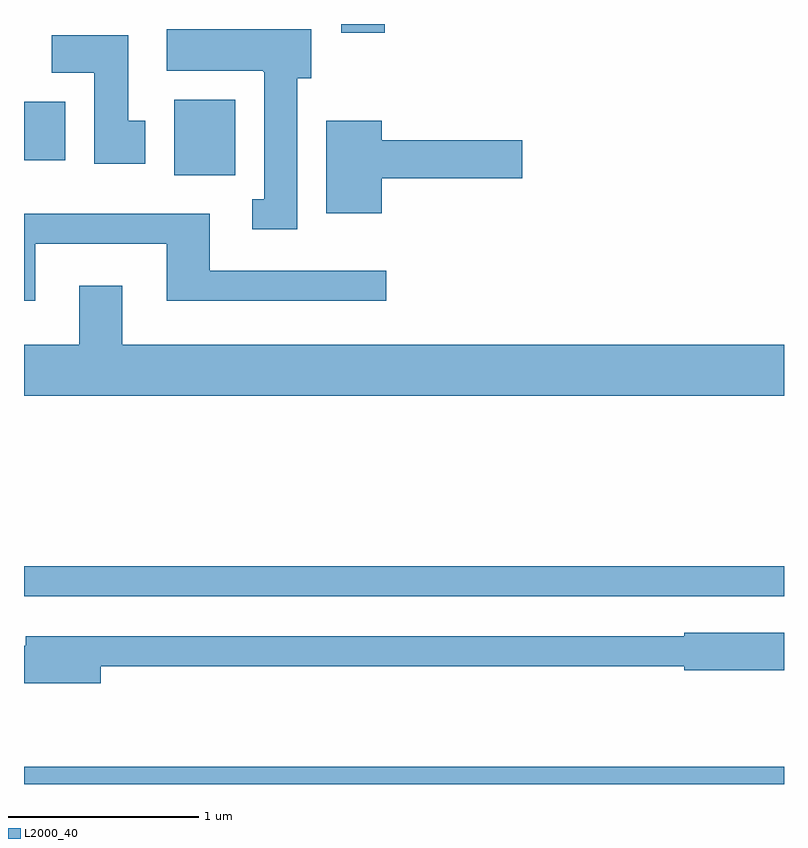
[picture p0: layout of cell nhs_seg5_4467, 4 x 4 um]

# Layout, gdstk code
import gdstk
lib = gdstk.Library(unit=1e-6, precision=1e-09)
def R(c, l, rs):  # rectangles x0, y0, x1, y1
    for r in rs: c.add(gdstk.rectangle(r[:2], r[2:], *l))
def P(c, l, *ps):  # polygons
    for p in ps: c.add(gdstk.Polygon(p, *l))
L2000_40 = (2000, 40)

nhs_seg5_4467 = lib.new_cell('nhs_seg5_4467')
R(nhs_seg5_4467, L2000_40, [(317.611,1468.072,321.611,1468.164), (317.611,1469.061,321.611,1469.219), (318.401,1471.276,318.724,1471.674), (317.611,1471.356,317.829,1471.664), (319.281,1472.026,319.509,1472.072)])
P(nhs_seg5_4467, L2000_40, [(319.049,1471.786),(319.124,1471.786),(319.124,1472.044),(318.361,1472.044),(318.361,1471.826),(318.87,1471.826),(318.87,1471.82),(318.876,1471.82),(318.876,1471.149),(318.813,1471.149),(318.813,1470.991),(319.049,1470.991)],
  [(318.249,1471.564),(318.159,1471.564),(318.159,1472.014),(317.756,1472.014),(317.756,1471.816),(317.981,1471.816),(317.981,1471.336),(318.249,1471.336)],
  [(319.494,1471.261),(320.234,1471.261),(320.234,1471.459),(319.494,1471.459),(319.494,1471.564),(319.201,1471.564),(319.201,1471.076),(319.494,1471.076)],
  [(317.669,1470.916),(318.361,1470.916),(318.361,1470.616),(319.518,1470.616),(319.518,1470.774),(318.589,1470.774),(318.589,1471.074),(317.611,1471.074),(317.611,1470.616),(317.669,1470.616)],
  [(321.611,1470.384),(318.129,1470.384),(318.129,1470.694),(317.901,1470.694),(317.901,1470.384),(317.611,1470.384),(317.611,1470.116),(321.611,1470.116)],
  [(318.014,1468.691),(321.086,1468.691),(321.086,1468.671),(321.611,1468.671),(321.611,1468.869),(321.086,1468.869),(321.086,1468.849),(317.621,1468.849),(317.621,1468.799),(317.611,1468.799),(317.611,1468.601),(318.014,1468.601)])

lib.write_gds('nhs_seg5_4467.gds')
